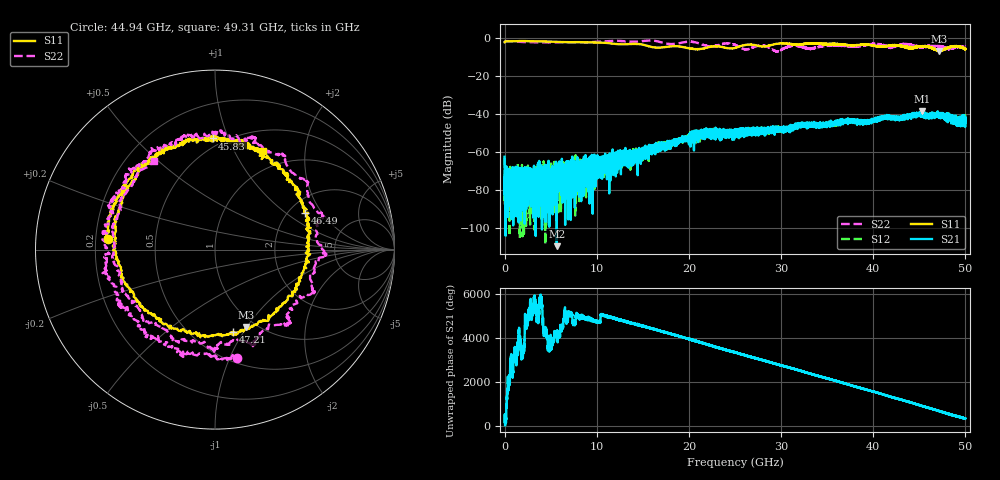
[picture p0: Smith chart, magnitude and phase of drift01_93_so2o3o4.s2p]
!Created with skrf (http://scikit-rf.org).
# Hz S RI R 50.0
!freq ReS11 ImS11 ReS21 ImS21 ReS12 ImS12 ReS22 ImS22
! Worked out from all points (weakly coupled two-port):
!   10001 points, 300 kHz to 50 GHz, reference 50 ohm
!   highest |S21| = -38.45 dB at 45.3 GHz (marker M1); lowest = -109.7 dB at 5.66 GHz (marker M2)
!   lowest |S11| = -6.7 dB at 47.15 GHz (marker M3), VSWR 2.74, Z = 45.3 - j49.8 ohm
!   |S11| at or under -10 dB: nowhere
!   |S22| runs from -6.8 to -1.0 dB; largest |S21 - S12| = 0.004
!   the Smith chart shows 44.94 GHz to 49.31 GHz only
!   S11 on the Smith chart (normalised r, x): 44.94 GHz: 0.25, +0.05; 45.83 GHz: 0.44, +0.88; 46.49 GHz: 2.44, +1.41; 47.21 GHz: 0.76, -0.90; 49.31 GHz: 0.75, +1.31
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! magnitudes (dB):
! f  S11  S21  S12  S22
! 300 kHz  -2.0  -62.5  -63.1  -1.3
! 255.3 MHz  -1.4  -69.4  -72.9  -1.4
! 925.3 MHz  -1.5  -78.3  -87.1  -1.5
! 5.66 GHz  -1.8  -109.7  -75.6  -2.0
! 8.335 GHz  -1.9  -70.2  -75.0  -2.1
! 16.67 GHz  -4.8  -57.3  -57.4  -1.6
! 21.82 GHz  -5.0  -50.6  -48.8  -3.8
! 25 GHz  -5.0  -48.2  -49.3  -3.4
! 26.19 GHz  -3.4  -48.9  -50.6  -5.7
! 28.08 GHz  -4.3  -49.0  -48.8  -3.7
! 29.52 GHz  -2.8  -47.9  -48.2  -6.8
! 31.29 GHz  -3.1  -46.7  -46.8  -4.0
! 33.34 GHz  -2.6  -45.1  -45.5  -5.4
! 41.67 GHz  -3.9  -41.3  -42.0  -4.6
! 44.94 GHz  -4.5  -39.6  -40.6  -4.2
! 45.3 GHz  -4.2  -38.5  -40.8  -4.4
! 45.83 GHz  -4.2  -41.0  -41.1  -4.1
! 46.49 GHz  -5.3  -40.0  -40.2  -3.9
! 47.15 GHz  -6.7  -40.8  -41.5  -4.0
! 47.21 GHz  -6.6  -40.8  -40.8  -4.6
! 49.31 GHz  -4.3  -43.6  -43.6  -4.5
! 50 GHz  -5.6  -41.7  -42.3  -4.3
